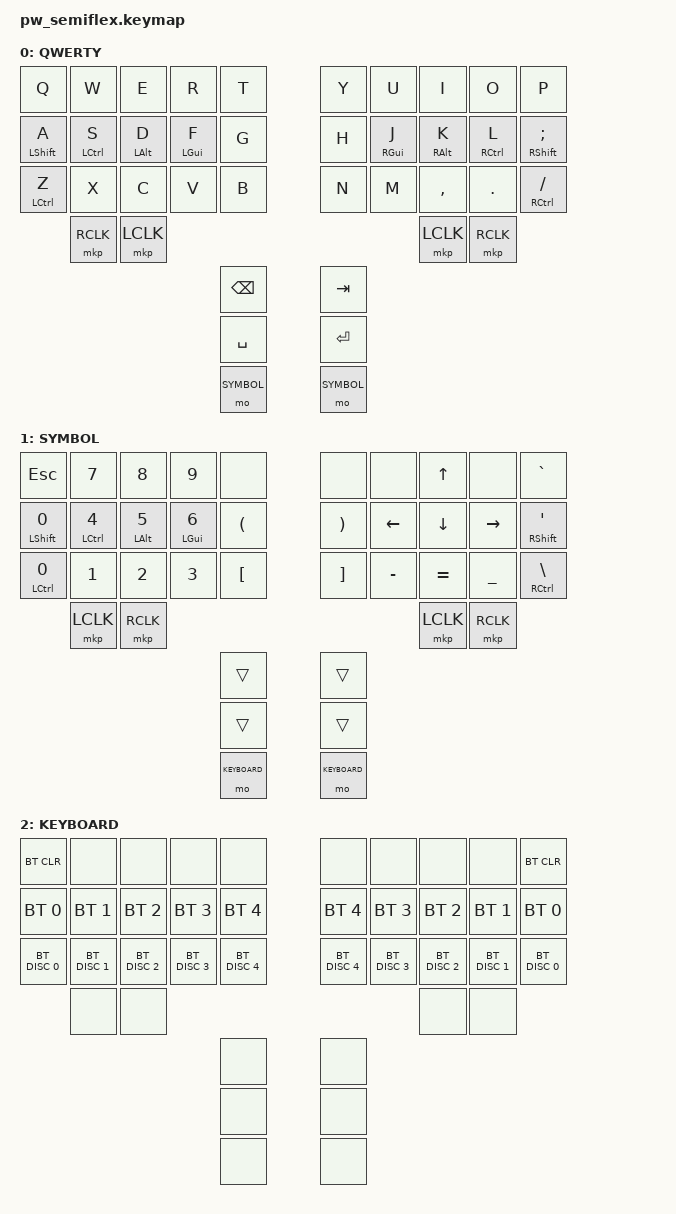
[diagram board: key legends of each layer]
#include <behaviors.dtsi>
#include <dt-bindings/zmk/keys.h>
#include <dt-bindings/zmk/bt.h>
#include <dt-bindings/zmk/mouse.h>
#include <behaviors/mouse_keys.dtsi>

#define QWERTY 0
#define SYMBOL 1
#define ACTION 2
#define KEYBOARD 3
#define SYMBOL_OLD 4
#define ACTION_OLD 5

&caps_word {
    continue-list = <UNDERSCORE MINUS>;
};

/ {
    tpad0_mmv_ibl {
        compatible = "zmk,input-behavior-listener";
        device = <&tpad0>;
        layers = <QWERTY>;
        y-invert;
    };
    tpad0_msl_ibl {
        compatible = "zmk,input-behavior-listener";
        device = <&tpad0>;
        layers = <SYMBOL ACTION>;
        evt-type = <INPUT_EV_REL>;
        x-input-code = <INPUT_REL_MISC>;
        y-input-code = <INPUT_REL_WHEEL>;
        bindings = <&ib_wheel_scaler 1 8>, <&ib_misc_scaler 0 0>;
    };
    ib_wheel_scaler: ib_wheel_scaler {
        compatible = "zmk,input-behavior-scaler";
        #binding-cells = <2>;
        evt-type = <INPUT_EV_REL>;
        input-code = <INPUT_REL_WHEEL>;
    };
    ib_misc_scaler: ib_misc_scaler {
            compatible = "zmk,input-behavior-scaler";
            #binding-cells = <2>;
            evt-type = <INPUT_EV_REL>;
            input-code = <INPUT_REL_MISC>;
    };
    ib_x_scaler: ib_x_scaler {
        compatible = "zmk,input-behavior-scaler";
        #binding-cells = <2>;
        evt-type = <INPUT_EV_REL>;
        input-code = <INPUT_REL_X>;
    };
    ib_y_scaler: ib_y_scaler {
        compatible = "zmk,input-behavior-scaler";
        #binding-cells = <2>;
        evt-type = <INPUT_EV_REL>;
        input-code = <INPUT_REL_Y>;
    };
    behaviors {
        hml: homerow_mod_left {
            compatible = "zmk,behavior-hold-tap";
            #binding-cells = <2>;
            bindings = <&kp>, <&kp>;
            flavor = "balanced";
            tapping-term-ms = <250>;
            quick-tap-ms = <150>;
            require-prior-idle-ms = <150>;
            hold-while-undecided;
            hold-trigger-key-positions = <2 3 10 11 12 13 14 15 22 23 24 25 26 27 34 35 36 37 38 39 46 47 48 49 50 51>;
            hold-trigger-on-release;
        };
        hsh: homerow_shift {
            compatible = "zmk,behavior-hold-tap";
            #binding-cells = <2>;
            bindings = <&kp>, <&kp>;
            flavor = "balanced";
            tapping-term-ms = <250>;
        };
        hmr: homerow_mod_right {
            compatible = "zmk,behavior-hold-tap";
            #binding-cells = <2>;
            bindings = <&kp>, <&kp>;
            flavor = "balanced";
            tapping-term-ms = <250>;
            quick-tap-ms = <250>;
            require-prior-idle-ms = <250>;
            hold-while-undecided;
            hold-trigger-key-positions = <0 1 4 5 6 7 8 9 16 17 18 19 20 21 28 29 30 31 32 33 40 41 42 43 44 45>;
            hold-trigger-on-release;
        };
    };

    keymap {
        compatible = "zmk,keymap";

        qwerty_layer {
            display-name = "QWERTY";
/*-----------------------QWERTY-----------------------*\
  Q    W    E    R    T          Y    U    I    O    P
  A/⇧  S/⌃  D/⌥  F/⌘  G          H    J/⌘  K/⌥  L/⌃  ;
  Z    X    X    C    V          N    M    ,    .    /
     rclk  lclk                          lclk  rclk
                       ⌫        ↹
                       ␣        ⏎
                      SYM      SYM
/*------------------------SYMBOL----------------------*\
 esc   7    8    9                         ↑         `
  0    4    5    6    (          )    ←    ↓    →    '
       1    2    3    [          ]    -    =    _    \
     rclk  lclk                          lclk  rclk


                       ⌨️        ⌨️
/*----------------------KEYBOARD-----------------------*\
 ❌                                                 ❌
 🛜0  🛜1  🛜2  🛜3  🛜4         🛜4  🛜3  🛜2  🛜1  🛜0
 ❌0  ❌1  ❌2  ❌3  ❌4         ❌4  ❌3  ❌2  ❌1  ❌0
/*-----------------------------------------------------*/
            bindings = <
&kp Q         &kp W         &kp E         &kp R         &kp T                        &kp Y         &kp U          &kp I          &kp O           &kp P
&hsh LSHFT A  &hml LCTRL S  &hml LALT D   &hml LGUI F   &kp G                        &kp H         &hmr RGUI J    &hmr RALT K    &hmr RCTRL L    &hsh RSHFT SEMI
&hml LCTRL Z  &kp X         &kp C         &kp V         &kp B                        &kp N         &kp M          &kp COMMA      &kp DOT         &hmr RCTRL FSLH
              &mkp RCLK     &mkp LCLK                                                                             &mkp LCLK      &mkp RCLK
                                                             &kp BSPC           &kp TAB
                                                             &kp SPACE          &kp RET
                                                             &mo SYMBOL         &mo SYMBOL
            >;
        };

        symbol_layer {
            display-name = "SYMBOL";
            bindings = <
&kp ESC       &kp N7        &kp N8        &kp N9        &none                        &none         &none          &kp UP         &none            &kp GRAVE
&hsh LSHFT N0 &hml LCTRL N4 &hml LALT N5  &hml LGUI N6  &kp LPAR                     &kp RPAR      &kp LEFT       &kp DOWN       &kp RIGHT        &hsh RSHFT SQT
&hml LCTRL N0 &kp N1        &kp N2        &kp N3        &kp LBKT                     &kp RBKT      &kp MINUS      &kp EQUAL      &kp UNDER        &hmr RCTRL BSLH
                            &mkp LCLK     &mkp RCLK                                                               &mkp LCLK      &mkp RCLK
                                                                 &trans             &trans
                                                                 &trans             &trans
                                                                 &mo KEYBOARD       &mo KEYBOARD
            >;
        };

        keyboard_layer {
            display-name = "KEYBOARD";
            bindings = <
&bt BT_CLR    &none         &none         &none         &none                        &none         &none          &none          &none            &bt BT_CLR
&bt BT_SEL 0  &bt BT_SEL 1  &bt BT_SEL 2  &bt BT_SEL 3  &bt BT_SEL 4                 &bt BT_SEL 4  &bt BT_SEL 3   &bt BT_SEL 2   &bt BT_SEL 1     &bt BT_SEL 0
&bt BT_DISC 0 &bt BT_DISC 1 &bt BT_DISC 2 &bt BT_DISC 3 &bt BT_DISC 4                &bt BT_DISC 4 &bt BT_DISC 3  &bt BT_DISC 2  &bt BT_DISC 1    &bt BT_DISC 0
              &none         &none                                                                                 &none          &none
                                                                 &none             &none
                                                                 &none             &none
                                                                 &none             &none
            >;
        };
    };
};
